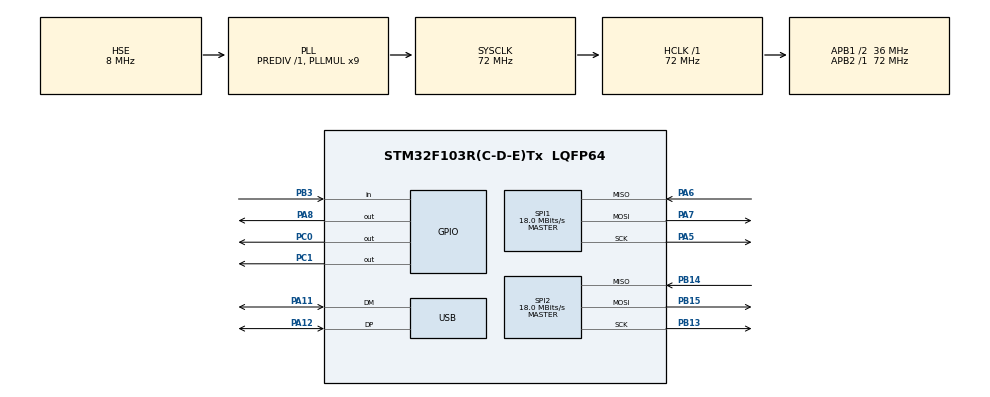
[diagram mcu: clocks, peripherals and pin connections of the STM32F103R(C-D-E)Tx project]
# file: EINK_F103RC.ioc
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FATFS._CODE_PAGE=437
FATFS._FS_TINY=1
FATFS._MAX_SS=4096
FATFS._USE_FASTSEEK=0
FATFS._USE_FIND=1
FATFS._USE_LFN=2
FATFS._USE_STRFUNC=0
IWDG.Prescaler=IWDG_PRESCALER_16
Mcu.Family=STM32F1
Mcu.Name=STM32F103R(C-D-E)Tx
Mcu.Package=LQFP64
NVIC.PriorityGroup=NVIC_PRIORITYGROUP_4
NVIC.USB_LP_CAN1_RX0_IRQn=true\:0\:0\:false\:false\:true\:false
PA11.Mode=Device
PA11.Signal=USB_DM
PA12.Mode=Device
PA12.Signal=USB_DP
PA13.Mode=Serial_Wire
PA13.Signal=SYS_JTMS-SWDIO
PA14.Mode=Serial_Wire
PA14.Signal=SYS_JTCK-SWCLK
PA5.Mode=Full_Duplex_Master
PA5.Signal=SPI1_SCK
PA6.Mode=Full_Duplex_Master
PA6.Signal=SPI1_MISO
PA7.Mode=Full_Duplex_Master
PA7.Signal=SPI1_MOSI
PA8.PinState=GPIO_PIN_SET
PA8.Signal=GPIO_Output
PB13.Mode=Full_Duplex_Master
PB13.Signal=SPI2_SCK
PB14.Mode=Full_Duplex_Master
PB14.Signal=SPI2_MISO
PB15.Mode=Full_Duplex_Master
PB15.Signal=SPI2_MOSI
PB3.Signal=GPIO_Input
PC0.Signal=GPIO_Output
PC1.Signal=GPIO_Output
PD0-OSC_IN.Mode=HSE-External-Oscillator
PD0-OSC_IN.Signal=RCC_OSC_IN
PD1-OSC_OUT.Mode=HSE-External-Oscillator
PD1-OSC_OUT.Signal=RCC_OSC_OUT
ProjectManager.HeapSize=0x200
ProjectManager.StackSize=0x1000
ProjectManager.TargetToolchain=EWARM V7
RCC.AHBFreq_Value=72000000
RCC.APB1CLKDivider=RCC_HCLK_DIV2
RCC.APB1Freq_Value=36000000
RCC.APB1TimFreq_Value=72000000
RCC.APB2Freq_Value=72000000
RCC.APB2TimFreq_Value=72000000
RCC.HCLKFreq_Value=72000000
RCC.PLLMUL=RCC_PLL_MUL9
RCC.SYSCLKFreq_VALUE=72000000
RCC.SYSCLKSource=RCC_SYSCLKSOURCE_PLLCLK
RCC.USBFreq_Value=48000000
RCC.USBPrescaler=RCC_USBCLKSOURCE_PLL_DIV1_5
SPI1.BaudRatePrescaler=SPI_BAUDRATEPRESCALER_4
SPI1.CalculateBaudRate=18.0 MBits/s
SPI1.Direction=SPI_DIRECTION_2LINES
SPI1.Mode=SPI_MODE_MASTER
SPI1.VirtualType=VM_MASTER
SPI2.BaudRatePrescaler=SPI_BAUDRATEPRESCALER_2
SPI2.CalculateBaudRate=18.0 MBits/s
SPI2.Direction=SPI_DIRECTION_2LINES
SPI2.Mode=SPI_MODE_MASTER
SPI2.VirtualType=VM_MASTER
USB.ep0_mps=DEP0CTL_MPS_64
USB_DEVICE.CLASS_NAME_FS=MSC
USB_DEVICE.MSC_MEDIA_PACKET=4096
USB_DEVICE.VirtualMode=Msc
USB_DEVICE.VirtualModeFS=Msc_FS
VP_FATFS_VS_Generic.Mode=User_defined
VP_IWDG_VS_IWDG.Mode=IWDG_Activate
VP_USB_DEVICE_VS_USB_DEVICE_MSC_FS.Mode=MSC_FS
board=custom

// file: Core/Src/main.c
/**
  ******************************************************************************
  * @file           : main.c
  * @brief          : Main program body
  ******************************************************************************
  * This notice applies to any and all portions of this file
  * that are not between comment pairs USER CODE BEGIN and
  * USER CODE END. Other portions of this file, whether
  * inserted by the user or by software development tools
  * are owned by their respective copyright owners.
  *
  * Copyright (c) 2019 STMicroelectronics International N.V.
  * All rights reserved.
  *
  * Redistribution and use in source and binary forms, with or without
  * modification, are permitted, provided that the following conditions are met:
  *
  * 1. Redistribution of source code must retain the above copyright notice,
  *    this list of conditions and the following disclaimer.
  * 2. Redistributions in binary form must reproduce the above copyright notice,
  *    this list of conditions and the following disclaimer in the documentation
  *    and/or other materials provided with the distribution.
  * 3. Neither the name of STMicroelectronics nor the names of other
  *    contributors to this software may be used to endorse or promote products
  *    derived from this software without specific written permission.
  * 4. This software, including modifications and/or derivative works of this
  *    software, must execute solely and exclusively on microcontroller or
  *    microprocessor devices manufactured by or for STMicroelectronics.
  * 5. Redistribution and use of this software other than as permitted under
  *    this license is void and will automatically terminate your rights under
  *    this license.
  *
  * THIS SOFTWARE IS PROVIDED BY STMICROELECTRONICS AND CONTRIBUTORS "AS IS"
  * AND ANY EXPRESS, IMPLIED OR STATUTORY WARRANTIES, INCLUDING, BUT NOT
  * LIMITED TO, THE IMPLIED WARRANTIES OF MERCHANTABILITY, FITNESS FOR A
  * PARTICULAR PURPOSE AND NON-INFRINGEMENT OF THIRD PARTY INTELLECTUAL PROPERTY
  * RIGHTS ARE DISCLAIMED TO THE FULLEST EXTENT PERMITTED BY LAW. IN NO EVENT
  * SHALL STMICROELECTRONICS OR CONTRIBUTORS BE LIABLE FOR ANY DIRECT, INDIRECT,
  * INCIDENTAL, SPECIAL, EXEMPLARY, OR CONSEQUENTIAL DAMAGES (INCLUDING, BUT NOT
  * LIMITED TO, PROCUREMENT OF SUBSTITUTE GOODS OR SERVICES; LOSS OF USE, DATA,
  * OR PROFITS; OR BUSINESS INTERRUPTION) HOWEVER CAUSED AND ON ANY THEORY OF
  * LIABILITY, WHETHER IN CONTRACT, STRICT LIABILITY, OR TORT (INCLUDING
  * NEGLIGENCE OR OTHERWISE) ARISING IN ANY WAY OUT OF THE USE OF THIS SOFTWARE,
  * EVEN IF ADVISED OF THE POSSIBILITY OF SUCH DAMAGE.
  *
  ******************************************************************************
  */
#include "main.h"
#include "stm32f1xx_hal.h"
#include "fatfs.h"
#include "iwdg.h"
#include "spi.h"
#include "usb_device.h"
#include "gpio.h"

/* USER CODE BEGIN Includes */
#include <stdio.h>
#include <stdlib.h>
#include <string.h>
#include <math.h>
#include "bsp_norflash.h"
/* USER CODE END Includes */

/* USER CODE BEGIN PV */
/* Private variables ---------------------------------------------------------*/
NORFLASH_OBJ FatFlash = {&hspi1, {GPIOA, GPIO_PIN_4}, NULL};

static NORFLASH_OBJ Flash_U9  = {&hspi2, {GPIOC, GPIO_PIN_8}, NULL};
static NORFLASH_OBJ Flash_U10 = {&hspi2, {GPIOC, GPIO_PIN_7}, NULL};
static NORFLASH_OBJ Flash_U25 = {&hspi2, {GPIOC, GPIO_PIN_6}, NULL};
/* USER CODE END PV */

void SystemClock_Config(void);

/* USER CODE BEGIN PFP */
/* Private function prototypes -----------------------------------------------*/
static void FileVoltage(void *, void *);
static void FileToFlash(void *, int, void *, void (*)(void *));
static void U9_CallBack(void *);
static void AllCallBack(void *);
/* USER CODE END PFP */

/* USER CODE BEGIN 0 */
#define FILE_NAME_CFG "config.txt"
#define FILE_NAME_U9  "FPGA-DATA.bin"
#define FILE_NAME_U10 "FPGA-LED-4M.bin"
#define FILE_NAME_U25 "IT8951-97.bin"
/* USER CODE END 0 */

int main(void)
{

  /* MCU Configuration----------------------------------------------------------*/

  /* Reset of all peripherals, Initializes the Flash interface and the Systick. */
  HAL_Init();

  /* Configure the system clock */
  SystemClock_Config();

  /* Initialize all configured peripherals */
  MX_GPIO_Init();
  MX_IWDG_Init();
  MX_SPI1_Init();
  MX_SPI2_Init();
  MX_USB_DEVICE_Init();
  MX_FATFS_Init();
  /* USER CODE BEGIN 2 */
  __HAL_SPI_ENABLE(&hspi1);
  __HAL_SPI_ENABLE(&hspi2);

  uint8_t state = HAL_GPIO_ReadPin(GPIOB, GPIO_PIN_3);
  NORFLASH_API *norflash = BSP_NORFLASH_API();

  norflash->Init(&FatFlash);

  retUSER = f_mount(&USERFatFS, USERPath, 1);
  if (retUSER != FR_OK)
    retUSER = f_mkfs(USERPath, 0, 4096);

  FileVoltage(&FatFlash, FILE_NAME_CFG);

  if (state == 0)
  {
    norflash->Init(&Flash_U9);
    norflash->Init(&Flash_U10);
    norflash->Init(&Flash_U25);

    FileToFlash(&Flash_U9,  Flash_U9.Desc->SizeK - 1024, FILE_NAME_U9,  U9_CallBack);
    FileToFlash(&Flash_U10, Flash_U10.Desc->SizeK,       FILE_NAME_U10, AllCallBack);
    FileToFlash(&Flash_U25, Flash_U25.Desc->SizeK,       FILE_NAME_U25, AllCallBack);
  }

  HAL_GPIO_WritePin(GPIOC, GPIO_PIN_0|GPIO_PIN_1, GPIO_PIN_SET);

  if (state == 0)
    HAL_GPIO_WritePin(GPIOA, GPIO_PIN_8, GPIO_PIN_RESET);
  /* USER CODE END 2 */

  /* Infinite loop */
  /* USER CODE BEGIN WHILE */
  while (1)
  {
    HAL_IWDG_Refresh(&hiwdg);
    HAL_Delay(500);
    if (state == 0)
    {
      HAL_GPIO_TogglePin(GPIOC, GPIO_PIN_1);
      if (HAL_GPIO_ReadPin(GPIOB, GPIO_PIN_3))
      {
        __disable_irq();
        HAL_NVIC_SystemReset();
      }
    }
    else
    {
      HAL_GPIO_TogglePin(GPIOC, GPIO_PIN_0);
      if (HAL_GPIO_ReadPin(GPIOB, GPIO_PIN_3) == 0)
      {
        __disable_irq();
        HAL_NVIC_SystemReset();
      }
    }
  /* USER CODE END WHILE */

  }

}

void SystemClock_Config(void)
{

  RCC_OscInitTypeDef RCC_OscInitStruct;
  RCC_ClkInitTypeDef RCC_ClkInitStruct;
  RCC_PeriphCLKInitTypeDef PeriphClkInit;

    /**Initializes the CPU, AHB and APB busses clocks
    */
  RCC_OscInitStruct.OscillatorType = RCC_OSCILLATORTYPE_LSI|RCC_OSCILLATORTYPE_HSE;
  RCC_OscInitStruct.HSEState = RCC_HSE_ON;
  RCC_OscInitStruct.HSEPredivValue = RCC_HSE_PREDIV_DIV1;
  RCC_OscInitStruct.HSIState = RCC_HSI_ON;
  RCC_OscInitStruct.LSIState = RCC_LSI_ON;
  RCC_OscInitStruct.PLL.PLLState = RCC_PLL_ON;
  RCC_OscInitStruct.PLL.PLLSource = RCC_PLLSOURCE_HSE;
  RCC_OscInitStruct.PLL.PLLMUL = RCC_PLL_MUL9;
  if (HAL_RCC_OscConfig(&RCC_OscInitStruct) != HAL_OK)
  {
    _Error_Handler(__FILE__, __LINE__);
  }

    /**Initializes the CPU, AHB and APB busses clocks
    */
  RCC_ClkInitStruct.ClockType = RCC_CLOCKTYPE_HCLK|RCC_CLOCKTYPE_SYSCLK
                              |RCC_CLOCKTYPE_PCLK1|RCC_CLOCKTYPE_PCLK2;
  RCC_ClkInitStruct.SYSCLKSource = RCC_SYSCLKSOURCE_PLLCLK;
  RCC_ClkInitStruct.AHBCLKDivider = RCC_SYSCLK_DIV1;
  RCC_ClkInitStruct.APB1CLKDivider = RCC_HCLK_DIV2;
  RCC_ClkInitStruct.APB2CLKDivider = RCC_HCLK_DIV1;

  if (HAL_RCC_ClockConfig(&RCC_ClkInitStruct, FLASH_LATENCY_2) != HAL_OK)
  {
    _Error_Handler(__FILE__, __LINE__);
  }

  PeriphClkInit.PeriphClockSelection = RCC_PERIPHCLK_USB;
  PeriphClkInit.UsbClockSelection = RCC_USBCLKSOURCE_PLL_DIV1_5;
  if (HAL_RCCEx_PeriphCLKConfig(&PeriphClkInit) != HAL_OK)
  {
    _Error_Handler(__FILE__, __LINE__);
  }

    /**Configure the Systick interrupt time
    */
  HAL_SYSTICK_Config(HAL_RCC_GetHCLKFreq()/1000);

    /**Configure the Systick
    */
  HAL_SYSTICK_CLKSourceConfig(SYSTICK_CLKSOURCE_HCLK);

  /* SysTick_IRQn interrupt configuration */
  HAL_NVIC_SetPriority(SysTick_IRQn, 0, 0);
}

/* USER CODE BEGIN 4 */
static void FileVoltage(void *obj, void *FileName)
{
  if (obj == NULL)
    return;

  NORFLASH_OBJ *Obj = obj;

  if (Obj->Desc == NULL)
    return;

  NORFLASH_API *norflash = BSP_NORFLASH_API();

  char  linebuf[32] = {0};
  int   rwcnt       = 0;
  float vcomflash   = 0;
  float vcomfile    = 0;
  int   needcreate  = 1;

  DIR     dir   = {0};
  FILINFO finfo = {0};
  TCHAR   lbuf[_MAX_LFN + 1] = {0};

  finfo.lfname = lbuf;
  finfo.lfsize = sizeof(lbuf);

  norflash->DataRead(Obj, 0, &vcomflash, sizeof(float));
  if (!isnormal(vcomflash))
  {
    vcomflash = 0;
    norflash->DataWrite(Obj, 0, &vcomflash, sizeof(float));
  }

  retUSER = f_findfirst(&dir, &finfo, "", FileName);
  if (retUSER != FR_OK)
    goto CREATE_CFG;

  retUSER = f_open(&USERFile, finfo.fname, FA_READ);
  if (retUSER != FR_OK)
    goto CREATE_CFG;

  retUSER = f_read(&USERFile, linebuf, sizeof(linebuf), (UINT *)&rwcnt);
  if (retUSER != FR_OK)
    goto CLOSE_FILE;

  if (strncmp(linebuf, "VCOM:", 5) != 0)
    goto CLOSE_FILE;

  vcomfile = atof(&linebuf[5]);
  if (!isnormal(vcomfile))
    goto CLOSE_FILE;

  if (vcomflash != vcomfile)
    norflash->DataWrite(Obj, 0, &vcomfile, sizeof(float));

  needcreate = 0;

CLOSE_FILE:
  retUSER = f_close(&USERFile);

CREATE_CFG:
  if (!needcreate)
    return;

  retUSER = f_open(&USERFile, FileName, FA_CREATE_ALWAYS | FA_WRITE);
  if (retUSER != FR_OK)
    return;

  memset(linebuf, 0, sizeof(linebuf));

  snprintf(linebuf, sizeof(linebuf), "VCOM:%.3f", vcomflash);

  retUSER = f_write(&USERFile, linebuf, strlen(linebuf), (UINT *)&rwcnt);

  retUSER = f_close(&USERFile);
}

#define BUF_LENS (1024)

static void FileToFlash(void *obj, int SizeK, void *FileName, void (*EraseCallBack)(void *))
{
  if (obj == NULL)
    return;

  NORFLASH_OBJ *Obj = obj;

  if (Obj->Desc == NULL)
    return;

  NORFLASH_API *norflash = BSP_NORFLASH_API();

  char fatbuf[BUF_LENS] = {0};
  char norbuf[BUF_LENS] = {0};

  int  filesize   = 0;
  int  fileptr    = 0;
  int  length     = 0;
  int  rcnt       = 0;
  int  check_pass = 0;

  DIR     dir   = {0};
  FILINFO finfo = {0};
  TCHAR   lbuf[_MAX_LFN + 1] = {0};

  finfo.lfname = lbuf;
  finfo.lfsize = sizeof(lbuf);

  HAL_GPIO_WritePin(GPIOC, GPIO_PIN_1, GPIO_PIN_SET);

  retUSER = f_findfirst(&dir, &finfo, "", FileName);
  if (retUSER != FR_OK)
    return;

  retUSER = f_open(&USERFile, finfo.fname, FA_READ);
  if (retUSER != FR_OK)
    return;

  EraseCallBack(Obj);

  filesize = f_size(&USERFile);
  fileptr  = 0;

  if (filesize > SizeK * 1024)
    filesize = SizeK * 1024;

  while (fileptr < filesize)
  {
    if (filesize - fileptr > sizeof(fatbuf))
      length = sizeof(fatbuf);
    else
      length = filesize - fileptr;

    retUSER = f_read(&USERFile, fatbuf, length, (UINT *)&rcnt);
    if ((retUSER != FR_OK) || (rcnt != length))
      goto RETURN;

    HAL_GPIO_TogglePin(GPIOC, GPIO_PIN_1);

    norflash->DataWrite(Obj, fileptr, fatbuf, length);

    HAL_GPIO_TogglePin(GPIOC, GPIO_PIN_1);

    norflash->DataRead(Obj, fileptr, norbuf, length);

    for (int i = 0; i < length; i++)
    {
      if (norbuf[i] != fatbuf[i])
        goto RETURN;
    }

    fileptr += length;
  }

  if (fileptr == filesize)
    check_pass = 1;

RETURN:
  retUSER = f_close(&USERFile);

  if (check_pass)
    f_unlink(finfo.fname);

  HAL_GPIO_WritePin(GPIOC, GPIO_PIN_1, GPIO_PIN_RESET);
}

static void U9_CallBack(void *obj)
{
  NORFLASH_API *norflash = BSP_NORFLASH_API();
  NORFLASH_OBJ *Obj = obj;

  for (int i = 0; i < Obj->Desc->SizeK - 1024; i += Obj->Desc->BlkSizeK)
    norflash->BlockErase(Obj, i * 1024);
}

static void AllCallBack(void *obj)
{
  NORFLASH_API *norflash = BSP_NORFLASH_API();

  norflash->ChipErase(obj);
}
/* USER CODE END 4 */

void _Error_Handler(char *file, int line)
{
  while(1)
  {
  }
}

/************************ (C) COPYRIGHT STMicroelectronics *****END OF FILE****/
